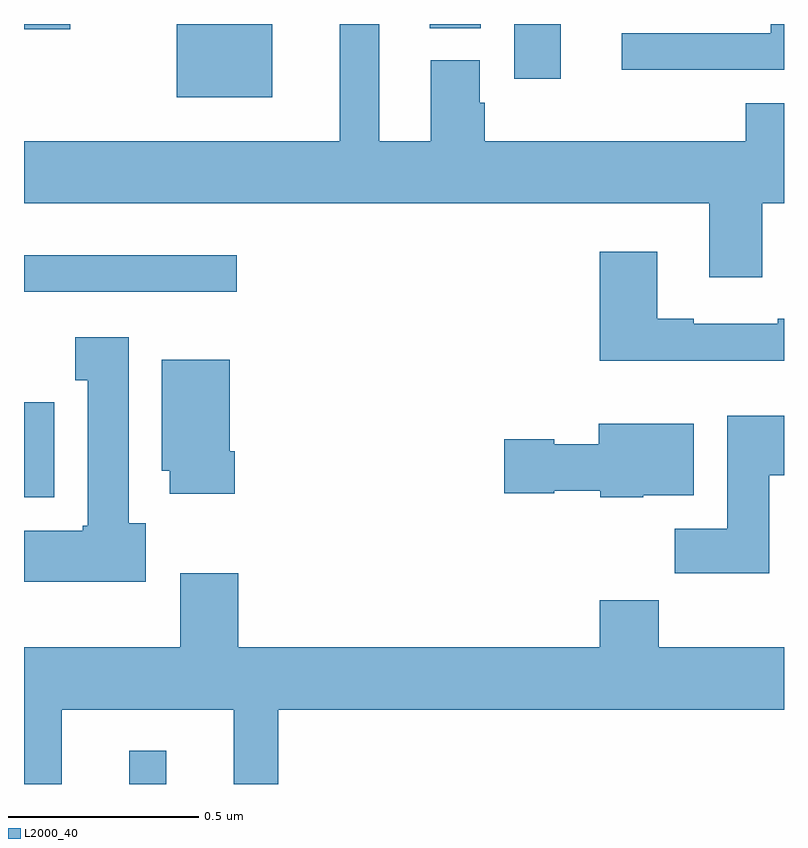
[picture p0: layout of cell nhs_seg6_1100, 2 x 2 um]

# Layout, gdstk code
import gdstk
lib = gdstk.Library(unit=1e-6, precision=1e-09)
def R(c, l, rs):  # rectangles x0, y0, x1, y1
    for r in rs: c.add(gdstk.rectangle(r[:2], r[2:], *l))
def P(c, l, *ps):  # polygons
    for p in ps: c.add(gdstk.Polygon(p, *l))
L2000_40 = (2000, 40)

nhs_seg6_1100 = lib.new_cell('nhs_seg6_1100')
R(nhs_seg6_1100, L2000_40, [(125.277,920.5,125.374,920.587), (125,921.254,125.079,921.505), (125,921.795,125.56,921.892), (125.402,922.307,125.653,922.5), (126.29,922.356,126.412,922.5), (125,922.486,125.122,922.5), (126.068,922.489,126.202,922.5)])
P(nhs_seg6_1100, L2000_40, [(126.943,922.028),(127,922.028),(127,922.291),(126.899,922.291),(126.899,922.192),(126.212,922.192),(126.212,922.293),(126.199,922.293),(126.199,922.404),(126.071,922.404),(126.071,922.192),(125.935,922.192),(125.935,922.5),(125.831,922.5),(125.831,922.192),(125,922.192),(125,922.028),(126.803,922.028),(126.803,921.834),(126.943,921.834)],
  [(127,922.5),(126.965,922.5),(126.965,922.476),(126.573,922.476),(126.573,922.379),(127,922.379)],
  [(127,921.724),(126.983,921.724),(126.983,921.711),(126.763,921.711),(126.763,921.724),(126.667,921.724),(126.667,921.901),(126.515,921.901),(126.515,921.614),(127,921.614)],
  [(125.32,921.186),(125.275,921.186),(125.275,921.676),(125.135,921.676),(125.135,921.563),(125.168,921.563),(125.168,921.18),(125.155,921.18),(125.155,921.166),(125,921.166),(125,921.032),(125.32,921.032)],
  [(125.555,921.376),(125.542,921.376),(125.542,921.616),(125.363,921.616),(125.363,921.324),(125.384,921.324),(125.384,921.264),(125.555,921.264)],
  [(126.961,921.313),(127,921.313),(127,921.469),(126.851,921.469),(126.851,921.172),(126.712,921.172),(126.712,921.054),(126.961,921.054)],
  [(126.63,921.26),(126.763,921.26),(126.763,921.448),(126.512,921.448),(126.512,921.394),(126.396,921.394),(126.396,921.407),(126.264,921.407),(126.264,921.265),(126.396,921.265),(126.396,921.272),(126.516,921.272),(126.516,921.254),(126.63,921.254)],
  [(125.099,920.696),(125.552,920.696),(125.552,920.5),(125.669,920.5),(125.669,920.696),(127,920.696),(127,920.86),(126.671,920.86),(126.671,920.984),(126.515,920.984),(126.515,920.86),(125.564,920.86),(125.564,921.055),(125.411,921.055),(125.411,920.86),(125,920.86),(125,920.696),(125.001,920.696),(125.001,920.5),(125.099,920.5)])

lib.write_gds('nhs_seg6_1100.gds')
